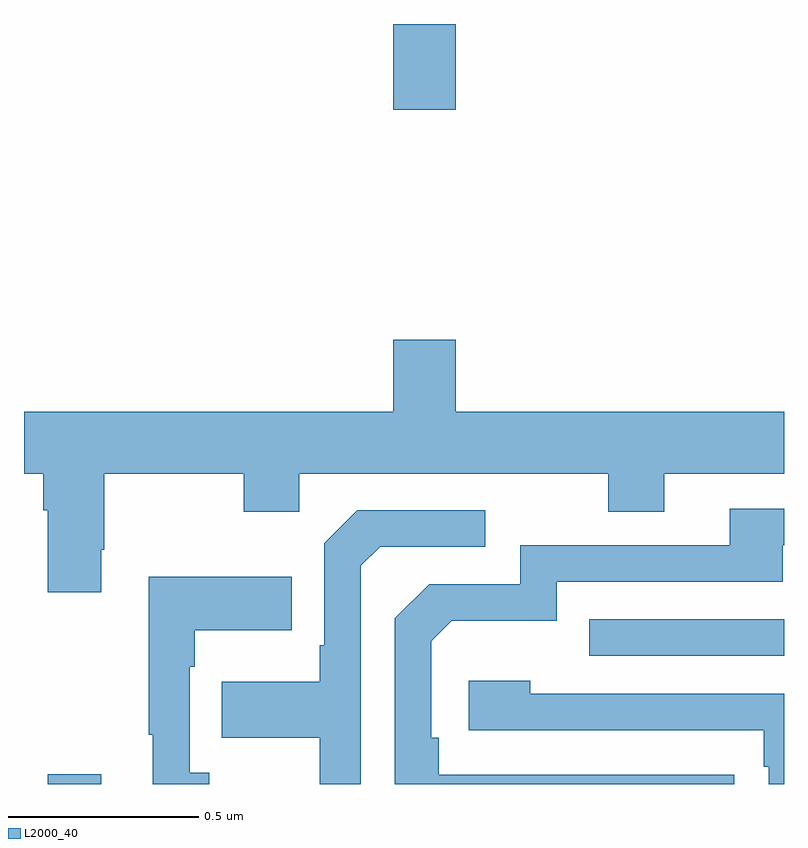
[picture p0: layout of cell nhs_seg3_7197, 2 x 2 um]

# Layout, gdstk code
import gdstk
lib = gdstk.Library(unit=1e-6, precision=1e-09)
def R(c, l, rs):  # rectangles x0, y0, x1, y1
    for r in rs: c.add(gdstk.rectangle(r[:2], r[2:], *l))
def P(c, l, *ps):  # polygons
    for p in ps: c.add(gdstk.Polygon(p, *l))
L2000_40 = (2000, 40)

nhs_seg3_7197 = lib.new_cell('nhs_seg3_7197')
R(nhs_seg3_7197, L2000_40, [(200.063,733.4,200.203,733.426), (201.487,733.737,202,733.833), (200.972,735.174,201.136,735.4)])
P(nhs_seg3_7197, L2000_40, [(200.203,734.017),(200.211,734.017),(200.211,734.216),(200.578,734.216),(200.578,734.117),(200.724,734.117),(200.724,734.216),(201.538,734.216),(201.538,734.117),(201.685,734.117),(201.685,734.216),(202,734.216),(202,734.38),(201.136,734.38),(201.136,734.569),(200.972,734.569),(200.972,734.38),(200,734.38),(200,734.216),(200.051,734.216),(200.051,734.12),(200.063,734.12),(200.063,733.905),(200.203,733.905)],
  [(201.869,733.424),(201.767,733.424),(201.767,733.425),(201.092,733.425),(201.092,733.522),(201.072,733.522),(201.072,733.776),(201.125,733.829),(201.402,733.829),(201.402,733.932),(201.997,733.932),(201.997,734.028),(202,734.028),(202,734.124),(201.857,734.124),(201.857,734.028),(201.306,734.028),(201.306,733.926),(201.066,733.926),(200.976,733.836),(200.976,733.4),(201.869,733.4)],
  [(200.886,733.974),(200.937,734.025),(201.214,734.025),(201.214,734.121),(200.877,734.121),(200.79,734.034),(200.79,733.765),(200.778,733.765),(200.778,733.669),(200.521,733.669),(200.521,733.522),(200.778,733.522),(200.778,733.4),(200.886,733.4)],
  [(200.488,733.43),(200.436,733.43),(200.436,733.709),(200.449,733.709),(200.449,733.805),(200.705,733.805),(200.705,733.945),(200.328,733.945),(200.328,733.529),(200.339,733.529),(200.339,733.4),(200.488,733.4)],
  [(202,733.638),(201.332,733.638),(201.332,733.672),(201.171,733.672),(201.171,733.542),(201.947,733.542),(201.947,733.445),(201.96,733.445),(201.96,733.4),(202,733.4)])

lib.write_gds('nhs_seg3_7197.gds')
